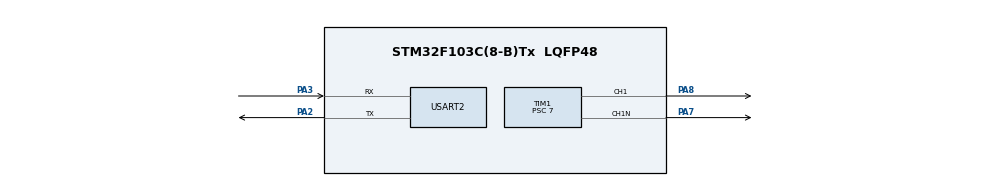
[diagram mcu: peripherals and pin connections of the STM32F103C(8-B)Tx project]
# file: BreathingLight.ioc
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Mcu.Family=STM32F1
Mcu.Name=STM32F103C(8-B)Tx
Mcu.Package=LQFP48
NVIC.PriorityGroup=NVIC_PRIORITYGROUP_4
NVIC.USART2_IRQn=true\:0\:0\:false\:false\:true\:true\:true\:true
PA13.Mode=Serial_Wire
PA13.Signal=SYS_JTMS-SWDIO
PA14.Mode=Serial_Wire
PA14.Signal=SYS_JTCK-SWCLK
PA2.Mode=Asynchronous
PA2.Signal=USART2_TX
PA3.Mode=Asynchronous
PA3.Signal=USART2_RX
PA7.Mode=PWM Generation1 CH1 CH1N
PA7.Signal=TIM1_CH1N
PA8.Signal=S_TIM1_CH1
ProjectManager.HeapSize=0x200
ProjectManager.StackSize=0x400
ProjectManager.TargetToolchain=CMake
RCC.APB1Freq_Value=8000000
RCC.APB2Freq_Value=8000000
SH.S_TIM1_CH1.0=TIM1_CH1,PWM Generation1 CH1 CH1N
TIM1.AutoReloadPreload=TIM_AUTORELOAD_PRELOAD_ENABLE
TIM1.Channel-PWM\ Generation1\ CH1\ CH1N=TIM_CHANNEL_1
TIM1.Period=999
TIM1.Prescaler=7
USART2.VirtualMode=VM_ASYNC
VP_TIM1_VS_ClockSourceINT.Mode=Internal
board=custom

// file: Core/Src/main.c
/* USER CODE BEGIN Header */
/**
  ******************************************************************************
  * @file           : main.c
  * @brief          : Main program body
  ******************************************************************************
  * @attention
  *
  * Copyright (c) 2026 STMicroelectronics.
  * All rights reserved.
  *
  * This software is licensed under terms that can be found in the LICENSE file
  * in the root directory of this software component.
  * If no LICENSE file comes with this software, it is provided AS-IS.
  *
  ******************************************************************************
  */
/* USER CODE END Header */
#include "main.h"

/* USER CODE BEGIN Includes */
#include "math.h"
/* USER CODE END Includes */

TIM_HandleTypeDef htim1;

UART_HandleTypeDef huart2;

/* USER CODE BEGIN PV */
uint8_t volatile LightCmd=1;
uint8_t volatile LightFrequency = 1;
uint8_t Answer[3] = "OK";
/* USER CODE END PV */

void SystemClock_Config(void);

static void MX_GPIO_Init(void);

static void MX_TIM1_Init(void);

static void MX_USART2_UART_Init(void);

/* USER CODE BEGIN PFP */
void HAL_UART_RxCpltCallback(UART_HandleTypeDef *huart) {
    if (huart == &huart2) {
    }
    HAL_UART_Transmit(&huart2, Answer, sizeof(Answer), HAL_MAX_DELAY);
    HAL_UART_Receive_IT(&huart2, &LightCmd, 1);
}

/* USER CODE END PFP */

int main(void) {

    /* MCU Configuration--------------------------------------------------------*/

    /* Reset of all peripherals, Initializes the Flash interface and the Systick. */
    HAL_Init();

    /* Configure the system clock */
    SystemClock_Config();

    /* Initialize all configured peripherals */
    MX_GPIO_Init();
    MX_TIM1_Init();
    MX_USART2_UART_Init();

    /* Infinite loop */
    /* USER CODE BEGIN WHILE */
    HAL_TIM_PWM_Start(&htim1, TIM_CHANNEL_1);
    HAL_TIMEx_PWMN_Start(&htim1, TIM_CHANNEL_1);
    HAL_UART_Receive_IT(&huart2, &LightCmd, 1);
    while (1) {
        LightFrequency = LightCmd;
        double t = HAL_GetTick() * 0.001;
        double duty = 0.5 * sin(2 * 3.14 * LightFrequency * t) + 0.5;
        uint16_t arr = __HAL_TIM_GET_AUTORELOAD(&htim1);
        uint16_t crr = duty * (arr + 1);
        __HAL_TIM_SET_COMPARE(&htim1, TIM_CHANNEL_1, crr);
        /* USER CODE END WHILE */

    }
}

void SystemClock_Config(void) {
    RCC_OscInitTypeDef RCC_OscInitStruct = {0};
    RCC_ClkInitTypeDef RCC_ClkInitStruct = {0};

    /** Initializes the RCC Oscillators according to the specified parameters
    * in the RCC_OscInitTypeDef structure.
    */
    RCC_OscInitStruct.OscillatorType = RCC_OSCILLATORTYPE_HSI;
    RCC_OscInitStruct.HSIState = RCC_HSI_ON;
    RCC_OscInitStruct.HSICalibrationValue = RCC_HSICALIBRATION_DEFAULT;
    RCC_OscInitStruct.PLL.PLLState = RCC_PLL_NONE;
    if (HAL_RCC_OscConfig(&RCC_OscInitStruct) != HAL_OK) {
        Error_Handler();
    }

    /** Initializes the CPU, AHB and APB buses clocks
    */
    RCC_ClkInitStruct.ClockType = RCC_CLOCKTYPE_HCLK | RCC_CLOCKTYPE_SYSCLK
                                  | RCC_CLOCKTYPE_PCLK1 | RCC_CLOCKTYPE_PCLK2;
    RCC_ClkInitStruct.SYSCLKSource = RCC_SYSCLKSOURCE_HSI;
    RCC_ClkInitStruct.AHBCLKDivider = RCC_SYSCLK_DIV1;
    RCC_ClkInitStruct.APB1CLKDivider = RCC_HCLK_DIV1;
    RCC_ClkInitStruct.APB2CLKDivider = RCC_HCLK_DIV1;

    if (HAL_RCC_ClockConfig(&RCC_ClkInitStruct, FLASH_LATENCY_0) != HAL_OK) {
        Error_Handler();
    }
}

static void MX_TIM1_Init(void) {

    TIM_ClockConfigTypeDef sClockSourceConfig = {0};
    TIM_MasterConfigTypeDef sMasterConfig = {0};
    TIM_OC_InitTypeDef sConfigOC = {0};
    TIM_BreakDeadTimeConfigTypeDef sBreakDeadTimeConfig = {0};

    htim1.Instance = TIM1;
    htim1.Init.Prescaler = 7;
    htim1.Init.CounterMode = TIM_COUNTERMODE_UP;
    htim1.Init.Period = 999;
    htim1.Init.ClockDivision = TIM_CLOCKDIVISION_DIV1;
    htim1.Init.RepetitionCounter = 0;
    htim1.Init.AutoReloadPreload = TIM_AUTORELOAD_PRELOAD_ENABLE;
    if (HAL_TIM_Base_Init(&htim1) != HAL_OK) {
        Error_Handler();
    }
    sClockSourceConfig.ClockSource = TIM_CLOCKSOURCE_INTERNAL;
    if (HAL_TIM_ConfigClockSource(&htim1, &sClockSourceConfig) != HAL_OK) {
        Error_Handler();
    }
    if (HAL_TIM_PWM_Init(&htim1) != HAL_OK) {
        Error_Handler();
    }
    sMasterConfig.MasterOutputTrigger = TIM_TRGO_RESET;
    sMasterConfig.MasterSlaveMode = TIM_MASTERSLAVEMODE_DISABLE;
    if (HAL_TIMEx_MasterConfigSynchronization(&htim1, &sMasterConfig) != HAL_OK) {
        Error_Handler();
    }
    sConfigOC.OCMode = TIM_OCMODE_PWM1;
    sConfigOC.Pulse = 0;
    sConfigOC.OCPolarity = TIM_OCPOLARITY_HIGH;
    sConfigOC.OCNPolarity = TIM_OCNPOLARITY_HIGH;
    sConfigOC.OCFastMode = TIM_OCFAST_DISABLE;
    sConfigOC.OCIdleState = TIM_OCIDLESTATE_RESET;
    sConfigOC.OCNIdleState = TIM_OCNIDLESTATE_RESET;
    if (HAL_TIM_PWM_ConfigChannel(&htim1, &sConfigOC, TIM_CHANNEL_1) != HAL_OK) {
        Error_Handler();
    }
    sBreakDeadTimeConfig.OffStateRunMode = TIM_OSSR_DISABLE;
    sBreakDeadTimeConfig.OffStateIDLEMode = TIM_OSSI_DISABLE;
    sBreakDeadTimeConfig.LockLevel = TIM_LOCKLEVEL_OFF;
    sBreakDeadTimeConfig.DeadTime = 0;
    sBreakDeadTimeConfig.BreakState = TIM_BREAK_DISABLE;
    sBreakDeadTimeConfig.BreakPolarity = TIM_BREAKPOLARITY_HIGH;
    sBreakDeadTimeConfig.AutomaticOutput = TIM_AUTOMATICOUTPUT_DISABLE;
    if (HAL_TIMEx_ConfigBreakDeadTime(&htim1, &sBreakDeadTimeConfig) != HAL_OK) {
        Error_Handler();
    }
    HAL_TIM_MspPostInit(&htim1);
}

static void MX_USART2_UART_Init(void) {

    huart2.Instance = USART2;
    huart2.Init.BaudRate = 115200;
    huart2.Init.WordLength = UART_WORDLENGTH_8B;
    huart2.Init.StopBits = UART_STOPBITS_1;
    huart2.Init.Parity = UART_PARITY_NONE;
    huart2.Init.Mode = UART_MODE_TX_RX;
    huart2.Init.HwFlowCtl = UART_HWCONTROL_NONE;
    huart2.Init.OverSampling = UART_OVERSAMPLING_16;
    if (HAL_UART_Init(&huart2) != HAL_OK) {
        Error_Handler();
    }
}

static void MX_GPIO_Init(void) {

    /* GPIO Ports Clock Enable */
    __HAL_RCC_GPIOA_CLK_ENABLE();

}

void Error_Handler(void) {
    __disable_irq();
    while (1) {
    }
}
